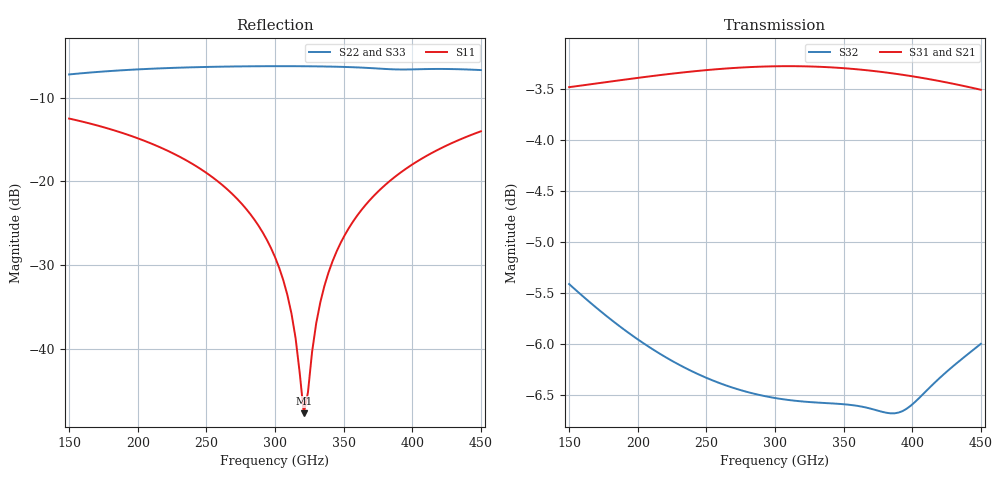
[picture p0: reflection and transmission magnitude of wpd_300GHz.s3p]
#  GHZ S DB R 50
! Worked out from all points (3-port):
!   101 points, 150 GHz to 450 GHz, reference 50 ohm
!   strongest paths, dB at 150 GHz, 225 GHz, 300 GHz, 375 GHz, 450 GHz:
!     S31: -3.5, -3.4, -3.3, -3.3, -3.5
!     S21: -3.5, -3.4, -3.3, -3.3, -3.5
!     S32: -5.4, -6.2, -6.5, -6.6, -6.0
!   lowest |S11| = -47.7 dB at 321 GHz (marker M1), VSWR 1.01, Z = 49.6 + j0.148 ohm
!   |S11| at or under -10 dB: start of sweep to end of sweep
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150  -12.49 136.4  -3.49 -43.2  -3.48 -43.2
     -3.49 -43.2  -7.21 54.6  -5.41 -95.1
     -3.48 -43.2  -5.41 -95.1  -7.23 54.6
249  -18.87 108.1  -3.32 -73.0  -3.32 -73.0
     -3.32 -73.0  -6.32 13.0  -6.32 -148.9
     -3.32 -73.0  -6.32 -148.9  -6.34 13.0
279  -23.30 100.3  -3.30 -82.2  -3.29 -82.2
     -3.30 -82.2  -6.25 2.7  -6.46 -164.8
     -3.29 -82.2  -6.46 -164.8  -6.26 2.7
300  -29.05 97.1  -3.29 -88.8  -3.28 -88.8
     -3.29 -88.8  -6.23 -4.2  -6.53 -175.8
     -3.28 -88.8  -6.53 -175.8  -6.24 -4.2
312  -35.81 101.1  -3.28 -92.5  -3.28 -92.5
     -3.28 -92.5  -6.23 -8.1  -6.55 177.9
     -3.28 -92.5  -6.55 177.9  -6.24 -8.1
321  -47.73 158.6  -3.29 -95.3  -3.28 -95.3
     -3.29 -95.3  -6.23 -11.0  -6.56 173.1
     -3.28 -95.3  -6.56 173.1  -6.25 -11.1
333  -34.47 -111.6  -3.29 -99.1  -3.28 -99.1
     -3.29 -99.1  -6.26 -14.9  -6.57 166.7
     -3.28 -99.1  -6.57 166.7  -6.27 -14.9
354  -25.53 -110.2  -3.31 -105.6  -3.30 -105.7
     -3.31 -105.6  -6.34 -21.7  -6.59 155.5
     -3.30 -105.7  -6.59 155.5  -6.35 -21.8
393  -18.77 -119.8  -3.36 -117.8  -3.36 -117.8
     -3.36 -117.8  -6.62 -33.1  -6.65 136.0
     -3.36 -117.8  -6.65 136.0  -6.63 -33.2
450  -14.01 -136.2  -3.51 -135.3  -3.51 -135.4
     -3.51 -135.3  -6.69 -53.6  -6.00 105.6
     -3.51 -135.4  -6.00 105.6  -6.69 -53.7
